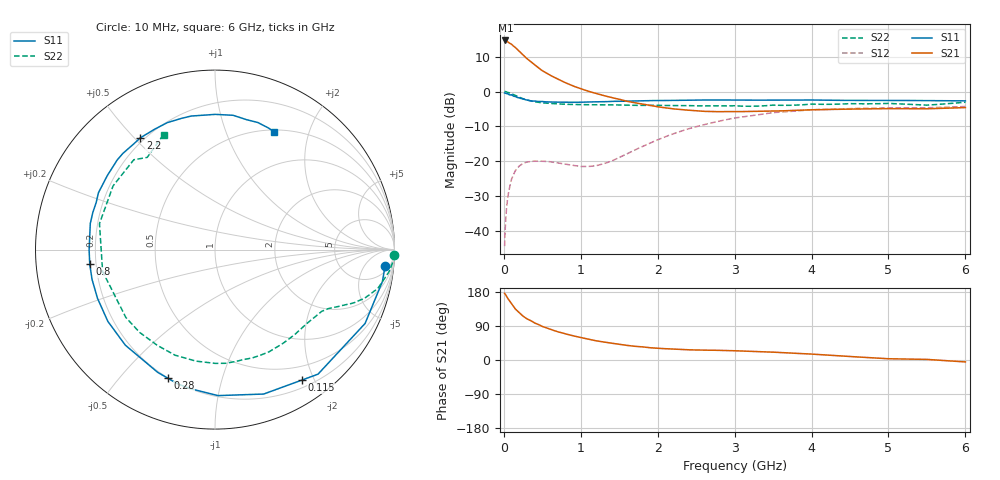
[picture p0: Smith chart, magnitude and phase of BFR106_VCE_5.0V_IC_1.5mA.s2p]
! Infineon Technologies  Discrete & RF Semiconductors
! BFR106
! VCE =  5.0 V,  IC =  1.5 mA
! Common Emitter S-Parameters:  Nov 2015
# GHz  S  MA  R  50
!  f  S11  S21  S12  S22
! GHz  MAG  ANG  MAG  ANG  MAG  ANG  MAG  ANG
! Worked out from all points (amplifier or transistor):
!   210 points, 10 MHz to 6 GHz, reference 50 ohm
!   highest |S21| = 14.7 dB at 20 MHz (marker M1)
!   |S21| within 3 dB of that: start of sweep to 196.3 MHz
!   unconditionally stable (mu >= 1): 813.7 MHz to 1.844 GHz; 3.528 GHz to end of sweep
!   at 185 MHz: K = 0.22, MSG = 16.9 dB, |S12| = -21.8 dB
!   at 1.52 GHz: K = 1.22, MAG = 5.4 dB, |S12| = -18.7 dB
!   at 6 GHz: K = 1.02, MAG = -1.0 dB, |S12| = -4.3 dB
!   S11 on the Smith chart (normalised r, x): 10 MHz: 8, -16; 115 MHz: 0.30, -1.83; 280 MHz: 0.20, -0.68; 800 MHz: 0.18, -0.06; 2.2 GHz: 0.18, +0.52; 6 GHz: 0.53, +1.49
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0.01  0.952 -5.5  5.382 175.9  0.006 88.1  0.9985 -1.6
0.02  0.9496 -10.8  5.415 173.3  0.012 82.7  0.9988 -3.0
0.05  0.932 -26.2  5.192 162.6  0.0298 75.7  0.9771 -7.3
0.1  0.9006 -50.4  4.78 148.4  0.055 63.2  0.9328 -13.4
0.115  0.873 -56.4  4.605 144.6  0.0601 59.0  0.9154 -14.7
0.15  0.8492 -71.4  4.286 134.5  0.073 51.7  0.8768 -18.0
0.18  0.8187 -81.7  3.981 128.8  0.08 47.1  0.8483 -19.7
0.24  0.7867 -100.3  3.433 117.5  0.0912 38.9  0.7953 -22.6
0.28  0.7631 -110.2  3.119 111.6  0.0954 35.2  0.7683 -24.1
0.4  0.7302 -133.2  2.411 97.7  0.1002 27.2  0.7121 -27.5
0.5  0.7185 -146.2  1.991 88.6  0.0998 23.8  0.6873 -30.0
0.6  0.7087 -157.4  1.717 81.0  0.098 22.5  0.6749 -33.0
0.8  0.7025 -173.4  1.338 69.0  0.0902 25.0  0.6559 -39.3
1.02  0.7028 172.8  1.077 58.2  0.0837 35.2  0.6486 -47.1
1.4  0.7225 154.0  0.819 44.3  0.1001 62.0  0.6442 -62.3
2.02  0.7412 129.6  0.599 30.7  0.2069 73.6  0.6328 -90.9
2.2  0.7487 123.7  0.564 28.6  0.2462 71.9  0.6303 -99.7
3.1  0.7534 98.1  0.515 23.6  0.4306 51.4  0.6164 -148.0
3.5  0.7534 89.9  0.523 20.7  0.4978 41.5  0.6379 -169.0
4.1  0.7525 81.2  0.548 14.3  0.551 27.0  0.6557 163.4
5.1  0.7454 70.4  0.567 3.0  0.5821 9.1  0.6668 131.0
6  0.7343 63.2  0.588 -5.1  0.6092 -2.3  0.7024 114.1
